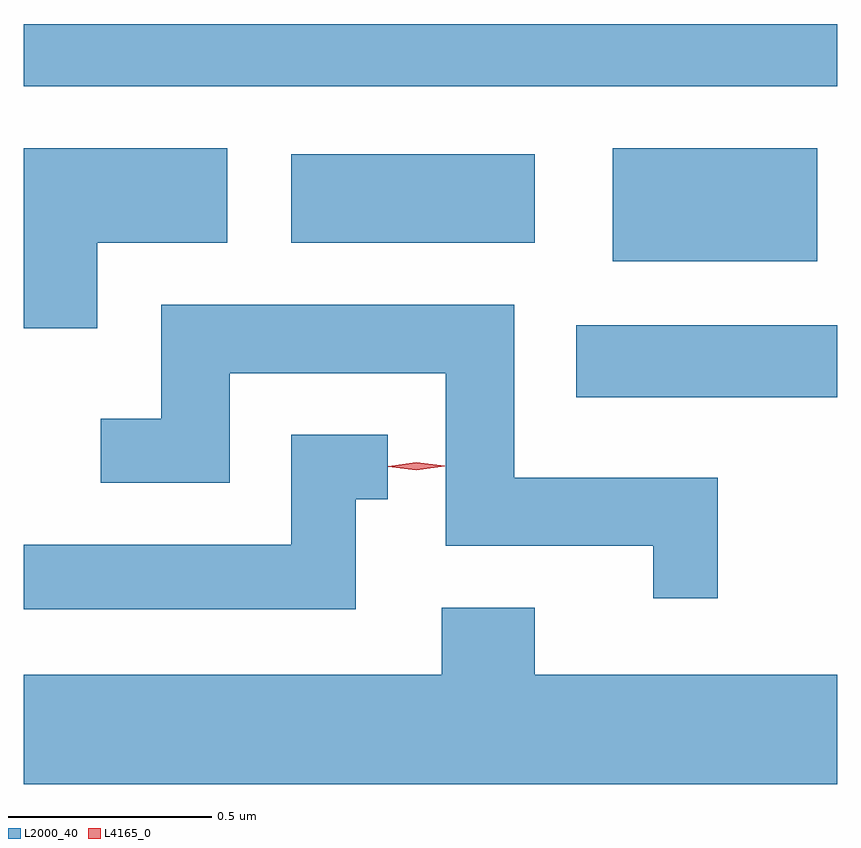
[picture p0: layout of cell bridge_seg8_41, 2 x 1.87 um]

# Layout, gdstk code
import gdstk
lib = gdstk.Library(unit=1e-6, precision=1e-09)
def R(c, l, rs):  # rectangles x0, y0, x1, y1
    for r in rs: c.add(gdstk.rectangle(r[:2], r[2:], *l))
def P(c, l, *ps):  # polygons
    for p in ps: c.add(gdstk.Polygon(p, *l))
L2000_40 = (2000, 40)
L4165_0 = (4165, 0)

bridge_seg8_41 = lib.new_cell('bridge_seg8_41')
R(bridge_seg8_41, L2000_40, [(1620.901,1879.546,1621.543,1879.724), (1620.991,1879.881,1621.494,1880.159), (1620.201,1879.926,1620.799,1880.144), (1619.543,1880.311,1621.543,1880.464)])
P(bridge_seg8_41, L2000_40, [(1619.724,1879.926),(1620.044,1879.926),(1620.044,1880.159),(1619.543,1880.159),(1619.543,1879.716),(1619.724,1879.716)],
  [(1621.249,1879.349),(1620.749,1879.349),(1620.749,1879.774),(1619.881,1879.774),(1619.881,1879.494),(1619.733,1879.494),(1619.733,1879.336),(1620.049,1879.336),(1620.049,1879.606),(1620.581,1879.606),(1620.581,1879.181),(1621.091,1879.181),(1621.091,1879.053),(1621.249,1879.053)],
  [(1620.359,1879.296),(1620.438,1879.296),(1620.438,1879.454),(1620.201,1879.454),(1620.201,1879.184),(1619.543,1879.184),(1619.543,1879.026),(1620.359,1879.026)],
  [(1621.543,1878.864),(1620.799,1878.864),(1620.799,1879.029),(1620.571,1879.029),(1620.571,1878.864),(1619.543,1878.864),(1619.543,1878.596),(1621.543,1878.596)])
P(bridge_seg8_41, L4165_0, [(1620.508,1879.367),(1620.439,1879.376),(1620.439,1879.376),(1620.439,1879.377),(1620.508,1879.387),(1620.578,1879.378),(1620.578,1879.377),(1620.578,1879.377)])

lib.write_gds('bridge_seg8_41.gds')
